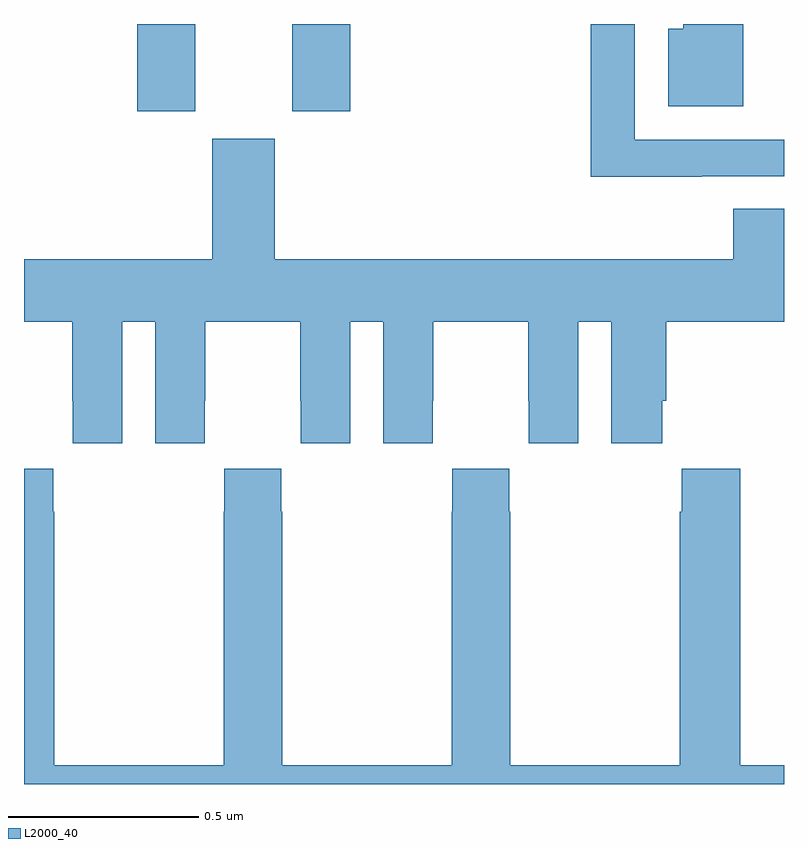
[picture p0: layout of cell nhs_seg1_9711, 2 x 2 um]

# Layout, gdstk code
import gdstk
lib = gdstk.Library(unit=1e-6, precision=1e-09)
def R(c, l, rs):  # rectangles x0, y0, x1, y1
    for r in rs: c.add(gdstk.rectangle(r[:2], r[2:], *l))
def P(c, l, *ps):  # polygons
    for p in ps: c.add(gdstk.Polygon(p, *l))
L2000_40 = (2000, 40)

nhs_seg1_9711 = lib.new_cell('nhs_seg1_9711')
R(nhs_seg1_9711, L2000_40, [(232.298,534.969,232.45,535.199), (232.706,534.969,232.859,535.199)])
P(nhs_seg1_9711, L2000_40, [(233.783,534.798),(234,534.798),(234,534.894),(233.607,534.894),(233.607,535.199),(233.491,535.199),(233.491,534.797),(233.783,534.797)],
  [(233.893,535.199),(233.735,535.199),(233.735,535.186),(233.696,535.186),(233.696,534.983),(233.893,534.983)],
  [(232.258,534.416),(232.346,534.416),(232.346,534.096),(232.476,534.096),(232.476,534.208),(232.477,534.208),(232.477,534.416),(232.727,534.416),(232.727,534.208),(232.728,534.208),(232.728,534.096),(232.858,534.096),(232.858,534.416),(232.946,534.416),(232.946,534.096),(233.076,534.096),(233.076,534.208),(233.077,534.208),(233.077,534.416),(233.327,534.416),(233.327,534.208),(233.328,534.208),(233.328,534.096),(233.458,534.096),(233.458,534.416),(233.546,534.416),(233.546,534.096),(233.68,534.096),(233.68,534.208),(233.69,534.208),(233.69,534.416),(234,534.416),(234,534.713),(233.867,534.713),(233.867,534.58),(232.66,534.58),(232.66,534.897),(232.496,534.897),(232.496,534.58),(232,534.58),(232,534.416),(232.127,534.416),(232.127,534.208),(232.128,534.208),(232.128,534.096),(232.258,534.096)],
  [(234,533.248),(233.885,533.248),(233.885,534.028),(233.731,534.028),(233.731,533.915),(233.725,533.915),(233.725,533.248),(233.28,533.248),(233.28,533.915),(233.277,533.915),(233.277,534.028),(233.127,534.028),(233.127,533.915),(233.125,533.915),(233.125,533.248),(232.68,533.248),(232.68,533.915),(232.677,533.915),(232.677,534.028),(232.527,534.028),(232.527,533.915),(232.525,533.915),(232.525,533.248),(232.08,533.248),(232.08,533.915),(232.077,533.915),(232.077,534.028),(232,534.028),(232,533.199),(234,533.199)])

lib.write_gds('nhs_seg1_9711.gds')
